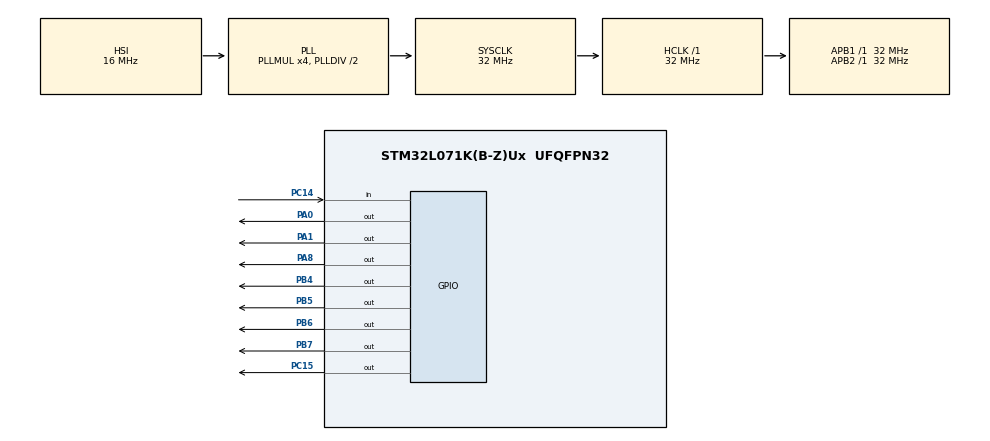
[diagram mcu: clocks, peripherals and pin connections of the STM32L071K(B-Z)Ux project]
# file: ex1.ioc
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Mcu.Family=STM32L0
Mcu.Name=STM32L071K(B-Z)Ux
Mcu.Package=UFQFPN32
PA0.Signal=GPIO_Output
PA1.Signal=GPIO_Output
PA13.Mode=Serial_Wire
PA13.Signal=SYS_SWDIO
PA14.Mode=Serial_Wire
PA14.Signal=SYS_SWCLK
PA8.Signal=GPIO_Output
PB4.Signal=GPIO_Output
PB5.Signal=GPIO_Output
PB6.Signal=GPIO_Output
PB7.Signal=GPIO_Output
PC14-OSC32_IN.Signal=GPIO_Input
PC15-OSC32_OUT.Signal=GPIO_Output
ProjectManager.HeapSize=0x200
ProjectManager.StackSize=0x400
ProjectManager.TargetToolchain=MDK-ARM V5
RCC.AHBFreq_Value=32000000
RCC.APB1Freq_Value=32000000
RCC.APB1TimFreq_Value=32000000
RCC.APB2Freq_Value=32000000
RCC.APB2TimFreq_Value=32000000
RCC.HCLKFreq_Value=32000000
RCC.HSI16_VALUE=16000000
RCC.HSI_VALUE=16000000
RCC.LSE_VALUE=32768
RCC.MSI_VALUE=2097000
RCC.PLLMUL=RCC_PLLMUL_4
RCC.SYSCLKFreq_VALUE=32000000
RCC.SYSCLKSource=RCC_SYSCLKSOURCE_PLLCLK
RCC.VCOOutputFreq_Value=64000000
board=custom

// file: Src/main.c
/* USER CODE BEGIN Header */
/**
  ******************************************************************************
  * @file           : main.c
  * @brief          : Main program body
  ******************************************************************************
  * @attention
  *
  * <h2><center>&copy; Copyright (c) 2019 STMicroelectronics.
  * All rights reserved.</center></h2>
  *
  * This software component is licensed by ST under BSD 3-Clause license,
  * the "License"; You may not use this file except in compliance with the
  * License. You may obtain a copy of the License at:
  *                        opensource.org/licenses/BSD-3-Clause
  *
  ******************************************************************************
  */
/* USER CODE END Header */

#include "main.h"
#include "gpio.h"
#include "stm32l0xx_hal.h"
#include "zm4xx_gpio.h"
#include "spi.h"
#include "timer.h"
#include "stddef.h"
#include "sx127x_lora.h"
#include "temperature.h"
#include "oled.h"

/* USER CODE BEGIN PV */
	#define FREQ  (433000000)
	void Hardware_Init(void);
	radio_handle_t  handle;
/* USER CODE END PV */

void SystemClock_Config(void);

/* USER CODE BEGIN 0 */
void Task_BrdInit(void)
{
    HAL_GPIO_WritePin(GPIOC, GPIO_PIN_15, GPIO_PIN_SET);

    OLED_PowerControl(ENABLE);

    HAL_Delay(200);
    OLED_Init();
    OLED_Clear();

    OLED_ShowString(0, 0, (unsigned char *)"                ", 16);
    OLED_ShowString(0, 2, (unsigned char *)"                ", 16);
}

void LoRa_Init(void)
{

	handle = radio_zm4xx_inst_init(spi_recv_byte,spi_send_byte,zm4xx_rst_pin_set,zm4xx_sel_pin_set,delay_ms,delay_us);

	if(handle != NULL){
		if(RADIO_RET_OK == radio_freq_set(handle, FREQ)){
				HAL_GPIO_WritePin(GPIOC, GPIO_PIN_15,GPIO_PIN_RESET);
		}

		radio_mode_set(handle, RX_MODE);	//Receive Mode
	}
}
/* USER CODE END 0 */

int main(void)
{
  /* USER CODE BEGIN 1 */
//    char lcdLine_1st_line[16];
    char lcdLine_2st_line[16];
//		int ret = RADIO_RET_OK;

    uint16_t len = 0;
		uint8_t rx = 0;
		uint8_t tx = 0x55;
		uint8_t cntr = 0;
		float a;
		int key;

  /* USER CODE END 1 */

  /* MCU Configuration--------------------------------------------------------*/

  /* Reset of all peripherals, Initializes the Flash interface and the Systick. */
  HAL_Init();

  /* Configure the system clock */
  SystemClock_Config();

  /* Initialize all configured peripherals */
  MX_GPIO_Init();
	Task_BrdInit();
	LoRa_Init();
	zm4xx_pin_init(); //LORA��Ҫ
	spi_init();//LORA��Ҫ
	LoRa_Init();

  /* Infinite loop */
    while (1)
    {

    /* USER CODE BEGIN 3 */
//			HAL_GPIO_WritePin(GPIOC, GPIO_PIN_15, GPIO_PIN_RESET);
			a=Get_Temperature();
			sprintf(lcdLine_2st_line, "%f  ",a);
			OLED_ShowString(0, 2, (uint8_t *)lcdLine_2st_line, 16);
			if(HAL_GPIO_ReadPin(GPIOC, GPIO_PIN_14)==0)
			{
				HAL_Delay(50);
				key++;
//					HAL_GPIO_TogglePin(GPIOC, GPIO_PIN_15);
//					while(key%2==0)
					{
						a=Get_Temperature();
						sprintf(lcdLine_2st_line, "%f  ",a);
						OLED_ShowString(0, 2, (uint8_t *)lcdLine_2st_line, 16);
						radio_buf_send(handle,(uint8_t *)lcdLine_2st_line , 8); 	//
						radio_mode_set(handle, RX_MODE);
						HAL_GPIO_TogglePin(GPIOC, GPIO_PIN_15);
						if(HAL_GPIO_ReadPin(GPIOC, GPIO_PIN_14)==0)
						{
							key=2;
						}
				}
			}

//
//
//
//
//
//			ret = radio_buf_recv(handle, &rx, &len);
//			if(ret == RADIO_RET_OK){
//				ret = -1;
//				if(rx == 0x55){
//						HAL_GPIO_TogglePin(GPIOC, GPIO_PIN_15);
//				}
//			}
//
//			if(++cntr == 40){
//				radio_buf_send(handle, &tx, 1); 	//
//				radio_mode_set(handle, RX_MODE);
//				cntr = 0;
//			}
//		  HAL_Delay(2);

//		sprintf(lcdLine_1st_line, "GXCT IOT       ");
//		sprintf(lcdLine_2st_line, "Hello World    ");

//		OLED_ShowString(0, 0, (unsigned char *)lcdLine_1st_line, 16);
//		OLED_ShowString(0, 2, (unsigned char *)lcdLine_2st_line, 16);
    }

  /* USER CODE END 3 */
}

void SystemClock_Config(void)
{
  RCC_OscInitTypeDef RCC_OscInitStruct = {0};
  RCC_ClkInitTypeDef RCC_ClkInitStruct = {0};

  /** Configure the main internal regulator output voltage
  */
  __HAL_PWR_VOLTAGESCALING_CONFIG(PWR_REGULATOR_VOLTAGE_SCALE1);
  /** Initializes the CPU, AHB and APB busses clocks
  */
  RCC_OscInitStruct.OscillatorType = RCC_OSCILLATORTYPE_HSI;
  RCC_OscInitStruct.HSIState = RCC_HSI_ON;
  RCC_OscInitStruct.HSICalibrationValue = RCC_HSICALIBRATION_DEFAULT;
  RCC_OscInitStruct.PLL.PLLState = RCC_PLL_ON;
  RCC_OscInitStruct.PLL.PLLSource = RCC_PLLSOURCE_HSI;
  RCC_OscInitStruct.PLL.PLLMUL = RCC_PLLMUL_4;
  RCC_OscInitStruct.PLL.PLLDIV = RCC_PLLDIV_2;
  if (HAL_RCC_OscConfig(&RCC_OscInitStruct) != HAL_OK)
  {
    Error_Handler();
  }
  /** Initializes the CPU, AHB and APB busses clocks
  */
  RCC_ClkInitStruct.ClockType = RCC_CLOCKTYPE_HCLK|RCC_CLOCKTYPE_SYSCLK
                              |RCC_CLOCKTYPE_PCLK1|RCC_CLOCKTYPE_PCLK2;
  RCC_ClkInitStruct.SYSCLKSource = RCC_SYSCLKSOURCE_PLLCLK;
  RCC_ClkInitStruct.AHBCLKDivider = RCC_SYSCLK_DIV1;
  RCC_ClkInitStruct.APB1CLKDivider = RCC_HCLK_DIV1;
  RCC_ClkInitStruct.APB2CLKDivider = RCC_HCLK_DIV1;

  if (HAL_RCC_ClockConfig(&RCC_ClkInitStruct, FLASH_LATENCY_1) != HAL_OK)
  {
    Error_Handler();
  }
}

void Error_Handler(void)
{
}

/************************ (C) COPYRIGHT STMicroelectronics *****END OF FILE****/
